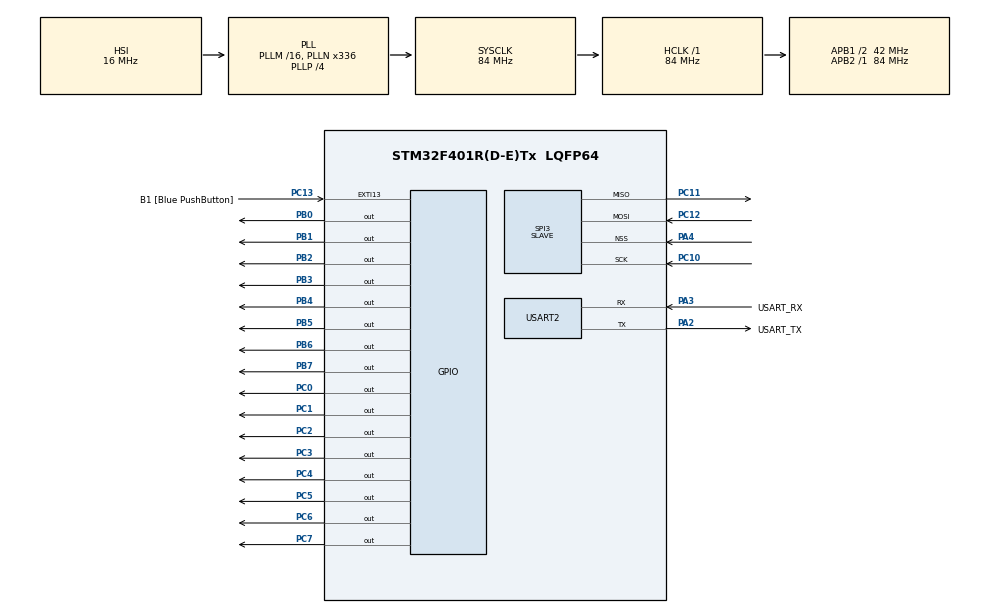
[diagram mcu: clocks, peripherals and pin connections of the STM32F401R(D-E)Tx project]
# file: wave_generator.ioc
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Mcu.Family=STM32F4
Mcu.Name=STM32F401R(D-E)Tx
Mcu.Package=LQFP64
NVIC.PriorityGroup=NVIC_PRIORITYGROUP_0
PA13.GPIO_Label=TMS
PA13.Mode=Serial_Wire
PA13.Signal=SYS_JTMS-SWDIO
PA14.GPIO_Label=TCK
PA14.Mode=Serial_Wire
PA14.Signal=SYS_JTCK-SWCLK
PA2.GPIO_Label=USART_TX
PA2.GPIO_Mode=GPIO_MODE_AF_PP
PA2.GPIO_PuPd=GPIO_NOPULL
PA2.GPIO_Speed=GPIO_SPEED_FREQ_LOW
PA2.Mode=Asynchronous
PA2.Signal=USART2_TX
PA3.GPIO_Label=USART_RX
PA3.GPIO_Mode=GPIO_MODE_AF_PP
PA3.GPIO_PuPd=GPIO_NOPULL
PA3.GPIO_Speed=GPIO_SPEED_FREQ_LOW
PA3.Mode=Asynchronous
PA3.Signal=USART2_RX
PA4.Mode=NSS_Signal_Hard_Input
PA4.Signal=SPI3_NSS
PB0.Signal=GPIO_Output
PB1.Signal=GPIO_Output
PB2.Signal=GPIO_Output
PB3.Signal=GPIO_Output
PB4.Signal=GPIO_Output
PB5.Signal=GPIO_Output
PB6.Signal=GPIO_Output
PB7.Signal=GPIO_Output
PC0.Signal=GPIO_Output
PC1.Signal=GPIO_Output
PC10.Mode=Full_Duplex_Slave
PC10.Signal=SPI3_SCK
PC11.Mode=Full_Duplex_Slave
PC11.Signal=SPI3_MISO
PC12.Mode=Full_Duplex_Slave
PC12.Signal=SPI3_MOSI
PC13-ANTI_TAMP.GPIO_Label=B1 [Blue PushButton]
PC13-ANTI_TAMP.GPIO_ModeDefaultEXTI=GPIO_MODE_IT_FALLING
PC13-ANTI_TAMP.GPIO_PuPd=GPIO_NOPULL
PC13-ANTI_TAMP.Signal=GPXTI13
PC14-OSC32_IN.Mode=LSE-External-Oscillator
PC14-OSC32_IN.Signal=RCC_OSC32_IN
PC15-OSC32_OUT.Mode=LSE-External-Oscillator
PC15-OSC32_OUT.Signal=RCC_OSC32_OUT
PC2.Signal=GPIO_Output
PC3.Signal=GPIO_Output
PC4.Signal=GPIO_Output
PC5.Signal=GPIO_Output
PC6.Signal=GPIO_Output
PC7.Signal=GPIO_Output
PH0\ -\ OSC_IN.Mode=HSE-External-Clock-Source
PH0\ -\ OSC_IN.Signal=RCC_OSC_IN
PH1\ -\ OSC_OUT.Mode=HSE-External-Clock-Source
PH1\ -\ OSC_OUT.Signal=RCC_OSC_OUT
ProjectManager.HeapSize=0x200
ProjectManager.StackSize=0x400
ProjectManager.TargetToolchain=MDK-ARM V5.32
RCC.48MHZClocksFreq_Value=48000000
RCC.AHBFreq_Value=84000000
RCC.APB1CLKDivider=RCC_HCLK_DIV2
RCC.APB1Freq_Value=42000000
RCC.APB1TimFreq_Value=84000000
RCC.APB2Freq_Value=84000000
RCC.APB2TimFreq_Value=84000000
RCC.CortexFreq_Value=84000000
RCC.HCLKFreq_Value=84000000
RCC.HSE_VALUE=8000000
RCC.HSI_VALUE=16000000
RCC.PLLN=336
RCC.PLLP=RCC_PLLP_DIV4
RCC.PLLQ=7
RCC.SYSCLKFreq_VALUE=84000000
RCC.SYSCLKSource=RCC_SYSCLKSOURCE_PLLCLK
RCC.VCOOutputFreq_Value=336000000
SPI3.Direction=SPI_DIRECTION_2LINES
SPI3.Mode=SPI_MODE_SLAVE
SPI3.VirtualNSS=VM_NSSHARD
SPI3.VirtualType=VM_SLAVE
USART2.VirtualMode=VM_ASYNC
board=NUCLEO-F401RE

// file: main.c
/* USER CODE BEGIN Header */
/**
  ******************************************************************************
  * @file           : main.c
  * @brief          : Main program body
  ******************************************************************************
  * @attention
  *
  * Copyright (c) 2023 STMicroelectronics.
  * All rights reserved.
  *
  * This software is licensed under terms that can be found in the LICENSE file
  * in the root directory of this software component.
  * If no LICENSE file comes with this software, it is provided AS-IS.
  *
  ******************************************************************************
  */
/* USER CODE END Header */
#include <stdio.h>
#include <stdlib.h>
#include <math.h>
#include "main.h"
#include "spi.h"
#include "usart.h"
#include "gpio.h"

/* USER CODE BEGIN PD */
#define LOOKUP_SIZE 256
/* USER CODE END PD */

/* USER CODE BEGIN PV */
const uint16_t sine_lookup[LOOKUP_SIZE] = {
	0x8000,0x8324,0x8647,0x896a,0x8c8b,0x8fab,0x92c7,0x95e1,
	0x98f8,0x9c0b,0x9f19,0xa223,0xa527,0xa826,0xab1f,0xae10,
	0xb0fb,0xb3de,0xb6b9,0xb98c,0xbc56,0xbf17,0xc1cd,0xc47a,
	0xc71c,0xc9b3,0xcc3f,0xcebf,0xd133,0xd39a,0xd5f5,0xd842,
	0xda82,0xdcb3,0xded7,0xe0eb,0xe2f1,0xe4e8,0xe6cf,0xe8a6,
	0xea6d,0xec23,0xedc9,0xef5e,0xf0e2,0xf254,0xf3b5,0xf504,
	0xf641,0xf76b,0xf884,0xf989,0xfa7c,0xfb5c,0xfc29,0xfce3,
	0xfd89,0xfe1d,0xfe9c,0xff09,0xff61,0xffa6,0xffd8,0xfff5,
	0xffff,0xfff5,0xffd8,0xffa6,0xff61,0xff09,0xfe9c,0xfe1d,
	0xfd89,0xfce3,0xfc29,0xfb5c,0xfa7c,0xf989,0xf884,0xf76b,
	0xf641,0xf504,0xf3b5,0xf254,0xf0e2,0xef5e,0xedc9,0xec23,
	0xea6d,0xe8a6,0xe6cf,0xe4e8,0xe2f1,0xe0eb,0xded7,0xdcb3,
	0xda82,0xd842,0xd5f5,0xd39a,0xd133,0xcebf,0xcc3f,0xc9b3,
	0xc71c,0xc47a,0xc1cd,0xbf17,0xbc56,0xb98c,0xb6b9,0xb3de,
	0xb0fb,0xae10,0xab1f,0xa826,0xa527,0xa223,0x9f19,0x9c0b,
	0x98f8,0x95e1,0x92c7,0x8fab,0x8c8b,0x896a,0x8647,0x8324,
	0x8000,0x7cdb,0x79b8,0x7695,0x7374,0x7054,0x6d38,0x6a1e,
	0x6707,0x63f4,0x60e6,0x5ddc,0x5ad8,0x57d9,0x54e0,0x51ef,
	0x4f04,0x4c21,0x4946,0x4673,0x43a9,0x40e8,0x3e32,0x3b85,
	0x38e3,0x364c,0x33c0,0x3140,0x2ecc,0x2c65,0x2a0a,0x27bd,
	0x257d,0x234c,0x2128,0x1f14,0x1d0e,0x1b17,0x1930,0x1759,
	0x1592,0x13dc,0x1236,0x10a1,0xf1d,0xdab,0xc4a,0xafb,
	0x9be,0x894,0x77b,0x676,0x583,0x4a3,0x3d6,0x31c,
	0x276,0x1e2,0x163,0xf6,0x9e,0x59,0x27,0xa,
	0x0,0xa,0x27,0x59,0x9e,0xf6,0x163,0x1e2,
	0x276,0x31c,0x3d6,0x4a3,0x583,0x676,0x77b,0x894,
	0x9be,0xafb,0xc4a,0xdab,0xf1d,0x10a1,0x1236,0x13dc,
	0x1592,0x1759,0x1930,0x1b17,0x1d0e,0x1f14,0x2128,0x234c,
	0x257d,0x27bd,0x2a0a,0x2c65,0x2ecc,0x3140,0x33c0,0x364c,
	0x38e3,0x3b85,0x3e32,0x40e8,0x43a9,0x4673,0x4946,0x4c21,
	0x4f04,0x51ef,0x54e0,0x57d9,0x5ad8,0x5ddc,0x60e6,0x63f4,
	0x6707,0x6a1e,0x6d38,0x7054,0x7374,0x7695,0x79b8,0x7cdb};

const uint16_t abs_sine_lookup[LOOKUP_SIZE] = {
	0x8000,0x8324,0x8647,0x896a,0x8c8b,0x8fab,0x92c7,0x95e1,
	0x98f8,0x9c0b,0x9f19,0xa223,0xa527,0xa826,0xab1f,0xae10,
	0xb0fb,0xb3de,0xb6b9,0xb98c,0xbc56,0xbf17,0xc1cd,0xc47a,
	0xc71c,0xc9b3,0xcc3f,0xcebf,0xd133,0xd39a,0xd5f5,0xd842,
	0xda82,0xdcb3,0xded7,0xe0eb,0xe2f1,0xe4e8,0xe6cf,0xe8a6,
	0xea6d,0xec23,0xedc9,0xef5e,0xf0e2,0xf254,0xf3b5,0xf504,
	0xf641,0xf76b,0xf884,0xf989,0xfa7c,0xfb5c,0xfc29,0xfce3,
	0xfd89,0xfe1d,0xfe9c,0xff09,0xff61,0xffa6,0xffd8,0xfff5,
	0xffff,0xfff5,0xffd8,0xffa6,0xff61,0xff09,0xfe9c,0xfe1d,
	0xfd89,0xfce3,0xfc29,0xfb5c,0xfa7c,0xf989,0xf884,0xf76b,
	0xf641,0xf504,0xf3b5,0xf254,0xf0e2,0xef5e,0xedc9,0xec23,
	0xea6d,0xe8a6,0xe6cf,0xe4e8,0xe2f1,0xe0eb,0xded7,0xdcb3,
	0xda82,0xd842,0xd5f5,0xd39a,0xd133,0xcebf,0xcc3f,0xc9b3,
	0xc71c,0xc47a,0xc1cd,0xbf17,0xbc56,0xb98c,0xb6b9,0xb3de,
	0xb0fb,0xae10,0xab1f,0xa826,0xa527,0xa223,0x9f19,0x9c0b,
	0x98f8,0x95e1,0x92c7,0x8fab,0x8c8b,0x896a,0x8647,0x8324,
	0x8000,0x8324,0x8647,0x896a,0x8c8b,0x8fab,0x92c7,0x95e1,
	0x98f8,0x9c0b,0x9f19,0xa223,0xa527,0xa826,0xab1f,0xae10,
	0xb0fb,0xb3de,0xb6b9,0xb98c,0xbc56,0xbf17,0xc1cd,0xc47a,
	0xc71c,0xc9b3,0xcc3f,0xcebf,0xd133,0xd39a,0xd5f5,0xd842,
	0xda82,0xdcb3,0xded7,0xe0eb,0xe2f1,0xe4e8,0xe6cf,0xe8a6,
	0xea6d,0xec23,0xedc9,0xef5e,0xf0e2,0xf254,0xf3b5,0xf504,
	0xf641,0xf76b,0xf884,0xf989,0xfa7c,0xfb5c,0xfc29,0xfce3,
	0xfd89,0xfe1d,0xfe9c,0xff09,0xff61,0xffa6,0xffd8,0xfff5,
	0xffff,0xfff5,0xffd8,0xffa6,0xff61,0xff09,0xfe9c,0xfe1d,
	0xfd89,0xfce3,0xfc29,0xfb5c,0xfa7c,0xf989,0xf884,0xf76b,
	0xf641,0xf504,0xf3b5,0xf254,0xf0e2,0xef5e,0xedc9,0xec23,
	0xea6d,0xe8a6,0xe6cf,0xe4e8,0xe2f1,0xe0eb,0xded7,0xdcb3,
	0xda82,0xd842,0xd5f5,0xd39a,0xd133,0xcebf,0xcc3f,0xc9b3,
	0xc71c,0xc47a,0xc1cd,0xbf17,0xbc56,0xb98c,0xb6b9,0xb3de,
	0xb0fb,0xae10,0xab1f,0xa826,0xa527,0xa223,0x9f19,0x9c0b,
	0x98f8,0x95e1,0x92c7,0x8fab,0x8c8b,0x896a,0x8647,0x8324,
};
/* USER CODE END PV */

void SystemClock_Config(void);
int sine(uint32_t duration, uint32_t frequency);
int square(uint32_t duration, uint32_t frequency);
int triangle(uint32_t duration, uint32_t frequency);
int abs_sine(uint32_t duration, uint32_t frequency);
int step(uint32_t duration, uint32_t frequency);
int sawtooth(uint32_t duration, uint32_t frequency);
void Set_Send_Data(uint32_t data);

int main(void)
{

  /* MCU Configuration--------------------------------------------------------*/

  /* Reset of all peripherals, Initializes the Flash interface and the Systick. */
  HAL_Init();

  /* Configure the system clock */
  SystemClock_Config();

  /* Initialize all configured peripherals */
  MX_GPIO_Init();
  MX_SPI3_Init();
  MX_USART2_UART_Init();
  /* USER CODE BEGIN 2 */
	uint8_t Wave_completed = 0;
  /* USER CODE END 2 */

  /* Infinite loop */
  while (1)
  {
		uint8_t packet[6];
		HAL_SPI_Receive(&hspi3, packet, 6, HAL_MAX_DELAY);

		uint16_t signal_type = (((uint16_t)packet[1]) << 8) + packet[0];
		uint16_t duration = (((uint16_t)packet[3]) << 8) + packet[2];
		uint16_t frequency = (((uint16_t)packet[5]) << 8) + packet[4];

		//signal_type = 2;

		//uint32_t signal_type = packet[0];
		//uint32_t duration = (uint32_t)(packet[1] * 9500 + 500);
		//uint32_t frequency = (uint32_t) (packet[2] * 999 + 1);
		//uint32_t signal_type = 1;
		//uint32_t duration = 1000;
		//uint32_t frequency = 500;

		switch (signal_type){
			case 1:
				Wave_completed = sine(duration, frequency);
				break;
			case 2:
				Wave_completed = square(duration, frequency);
				break;
			case 3:
				Wave_completed = triangle(duration, frequency);
				break;
			case 4:
				Wave_completed = abs_sine(duration, frequency);
				break;
			case 5:
				Wave_completed = step(duration, frequency);
				break;
			case 6:
				Wave_completed = sawtooth(duration, frequency);
				break;
			default:
				Wave_completed = 1;
				break;

		}
    /* USER CODE BEGIN 3 */
		HAL_SPI_Transmit(&hspi3, &Wave_completed, 1, HAL_MAX_DELAY);
  }
  /* USER CODE END 3 */
}

int sine(uint32_t duration, uint32_t frequency){
	int bound = LOOKUP_SIZE*duration*frequency / 10000;
	while (bound > 0){
		for(int i=0; i<LOOKUP_SIZE; i++){
			if(bound <= 0)
				return 0;
			Set_Send_Data(sine_lookup[i]/2);
			bound--;
			HAL_Delay(1);
		}
	}
	return 0;
}

int square(uint32_t duration, uint32_t frequency){
	//int16_t Real_Time = duration;
	//int16_t t = 1000 / frequency;
	//int16_t half_t = t / 2;
	//while(Real_Time > 0){
		//if (Real_Time <= 0)
			//return 0;
		//Set_Send_Data(0);
		//HAL_Delay(half_t);
		//Real_Time -= half_t;
		//if (Real_Time <= 0)
			//return 0;
		//Set_Send_Data(0xFFFF);
		//HAL_Delay(half_t);
		//Real_Time -= half_t;}
	int bound = (256*duration*frequency)/10000;
	while(bound > 0){
		for (int i=0; i<127; i++){
			Set_Send_Data(0xFFFF);
			HAL_Delay(1);
			bound--;
			if(bound <= 0)
				return 0;
		}
		for(int i=127; i>0; i++){
			Set_Send_Data(0);
			HAL_Delay(1);
			bound--;
			if(bound <= 0)
				return 0;
		}
	}
	return 0;
}

int triangle(uint32_t duration, uint32_t frequency){
	int bound = (256*duration*frequency)/10000;
	while(bound > 0){
		for(int i=0; i<127; i++){
			bound--;
			if(bound <=0)
				return 0;
			Set_Send_Data(i*256);
			HAL_Delay(1);
		}
		for(int i=127; i>0; i--){
			bound--;
			if(bound <=0)
				return 0;
			Set_Send_Data(i*256);
			HAL_Delay(1);
		}
	}
	return 0;
}

int abs_sine(uint32_t duration, uint32_t frequency){
	int bound = LOOKUP_SIZE*duration*frequency / 10000;
	while (bound > 0){
		for(int i=0; i<LOOKUP_SIZE; i++){
			if(bound <= 0)
				return 0;
			Set_Send_Data(abs_sine_lookup[i]/2);
			bound--;
			HAL_Delay(1);
		}
	}
	return 0;
}

int step(uint32_t duration, uint32_t frequency){
	for(int i=0; i < 10; i++){
		Set_Send_Data(i*3000);
		HAL_Delay(50);
	}

	for(int i=10; i > 0; i--){
		Set_Send_Data(i*3000);
		HAL_Delay(50);
	}
	return 0;
}

int sawtooth(uint32_t duration, uint32_t frequency){
	int bound = (256*duration*frequency)/10000;
	while(bound > 0){
		for(int i=0; i<127; i++){
			bound--;
			if(bound <=0)
				return 0;
			Set_Send_Data(i*256);
			HAL_Delay(1);
		}
	}
	return 0;
}

void Set_Send_Data(uint32_t data){
	uint32_t lsb = data & 0x00FF;
	uint32_t msb = data >> 8;
	GPIOB->ODR = lsb;
	GPIOC->ODR = msb;
}

void SystemClock_Config(void)
{
  RCC_OscInitTypeDef RCC_OscInitStruct = {0};
  RCC_ClkInitTypeDef RCC_ClkInitStruct = {0};

  /** Configure the main internal regulator output voltage
  */
  __HAL_RCC_PWR_CLK_ENABLE();
  __HAL_PWR_VOLTAGESCALING_CONFIG(PWR_REGULATOR_VOLTAGE_SCALE2);

  /** Initializes the RCC Oscillators according to the specified parameters
  * in the RCC_OscInitTypeDef structure.
  */
  RCC_OscInitStruct.OscillatorType = RCC_OSCILLATORTYPE_HSI;
  RCC_OscInitStruct.HSIState = RCC_HSI_ON;
  RCC_OscInitStruct.HSICalibrationValue = RCC_HSICALIBRATION_DEFAULT;
  RCC_OscInitStruct.PLL.PLLState = RCC_PLL_ON;
  RCC_OscInitStruct.PLL.PLLSource = RCC_PLLSOURCE_HSI;
  RCC_OscInitStruct.PLL.PLLM = 16;
  RCC_OscInitStruct.PLL.PLLN = 336;
  RCC_OscInitStruct.PLL.PLLP = RCC_PLLP_DIV4;
  RCC_OscInitStruct.PLL.PLLQ = 7;
  if (HAL_RCC_OscConfig(&RCC_OscInitStruct) != HAL_OK)
  {
    Error_Handler();
  }

  /** Initializes the CPU, AHB and APB buses clocks
  */
  RCC_ClkInitStruct.ClockType = RCC_CLOCKTYPE_HCLK|RCC_CLOCKTYPE_SYSCLK
                              |RCC_CLOCKTYPE_PCLK1|RCC_CLOCKTYPE_PCLK2;
  RCC_ClkInitStruct.SYSCLKSource = RCC_SYSCLKSOURCE_PLLCLK;
  RCC_ClkInitStruct.AHBCLKDivider = RCC_SYSCLK_DIV1;
  RCC_ClkInitStruct.APB1CLKDivider = RCC_HCLK_DIV2;
  RCC_ClkInitStruct.APB2CLKDivider = RCC_HCLK_DIV1;

  if (HAL_RCC_ClockConfig(&RCC_ClkInitStruct, FLASH_LATENCY_2) != HAL_OK)
  {
    Error_Handler();
  }
}

void Error_Handler(void)
{
  __disable_irq();
  while (1)
  {
  }
}
